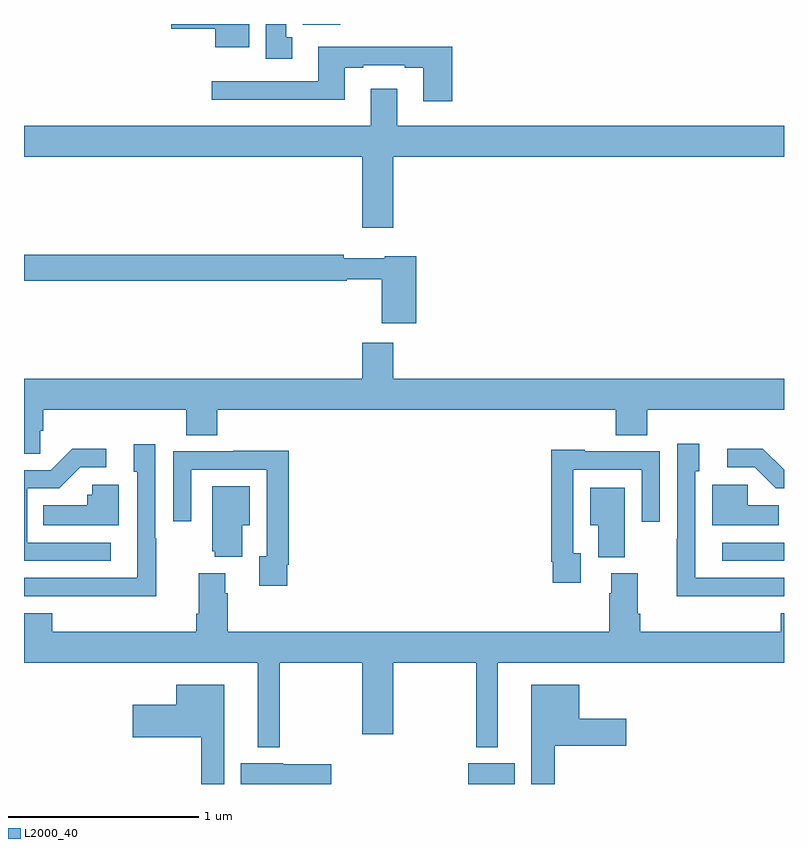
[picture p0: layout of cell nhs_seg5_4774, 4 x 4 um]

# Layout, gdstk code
import gdstk
lib = gdstk.Library(unit=1e-6, precision=1e-09)
def R(c, l, rs):  # rectangles x0, y0, x1, y1
    for r in rs: c.add(gdstk.rectangle(r[:2], r[2:], *l))
def P(c, l, *ps):  # polygons
    for p in ps: c.add(gdstk.Polygon(p, *l))
L2000_40 = (2000, 40)

nhs_seg5_4774 = lib.new_cell('nhs_seg5_4774')
R(nhs_seg5_4774, L2000_40, [(393.338,846.799,393.583,846.907), (394.674,847.974,395,848.07), (392.468,850.796,392.665,850.799)])
P(nhs_seg5_4774, L2000_40, [(392.413,850.73),(392.38,850.73),(392.38,850.799),(392.273,850.799),(392.273,850.617),(392.413,850.617)],
  [(392.185,850.799),(391.776,850.799),(391.776,850.775),(392.006,850.775),(392.006,850.676),(392.185,850.676)],
  [(393.254,850.678),(392.549,850.678),(392.549,850.497),(391.989,850.497),(391.989,850.4),(392.689,850.4),(392.689,850.569),(392.785,850.569),(392.785,850.581),(393.005,850.581),(393.005,850.569),(393.101,850.569),(393.101,850.392),(393.254,850.392)],
  [(392.944,850.1),(395,850.1),(395,850.264),(392.965,850.264),(392.965,850.459),(392.825,850.459),(392.825,850.264),(391,850.264),(391,850.1),(392.78,850.1),(392.78,849.726),(392.944,849.726)],
  [(393.065,849.577),(392.898,849.577),(392.898,849.565),(392.684,849.565),(392.684,849.584),(391,849.584),(391,849.448),(392.698,849.448),(392.698,849.456),(392.882,849.456),(392.882,849.225),(393.065,849.225)],
  [(392.944,849.121),(392.78,849.121),(392.78,848.932),(391,848.932),(391,848.536),(391.086,848.536),(391.086,848.659),(391.1,848.659),(391.1,848.768),(391.853,848.768),(391.853,848.635),(392.018,848.635),(392.018,848.768),(394.115,848.768),(394.115,848.635),(394.28,848.635),(394.28,848.768),(395,848.768),(395,848.932),(392.944,848.932)],
  [(394.898,847.788),(395,847.788),(395,847.884),(394.533,847.884),(394.533,848.445),(394.555,848.445),(394.555,848.59),(394.437,848.59),(394.437,848.09),(394.436,848.09),(394.436,847.787),(394.898,847.787)],
  [(391.695,848.093),(391.692,848.093),(391.692,848.587),(391.577,848.587),(391.577,848.442),(391.596,848.442),(391.596,848.108),(391.595,848.108),(391.595,847.884),(391,847.884),(391,847.788),(391.231,847.788),(391.231,847.787),(391.695,847.787)],
  [(395,848.452),(394.888,848.564),(394.701,848.564),(394.701,848.466),(394.845,848.466),(394.956,848.355),(395,848.355)],
  [(391.456,848.07),(391.017,848.07),(391.017,848.355),(391.186,848.355),(391.297,848.466),(391.432,848.466),(391.432,848.564),(391.253,848.564),(391.14,848.451),(391,848.451),(391,847.974),(391.456,847.974)],
  [(393.931,848.013),(393.891,848.013),(393.891,848.454),(394.251,848.454),(394.251,848.178),(394.347,848.178),(394.347,848.55),(393.951,848.55),(393.951,848.557),(393.775,848.557),(393.775,847.969),(393.783,847.969),(393.783,847.857),(393.931,847.857)],
  [(392.386,847.954),(392.393,847.954),(392.393,848.552),(392.101,848.552),(392.101,848.55),(391.785,848.55),(391.785,848.181),(391.881,848.181),(391.881,848.454),(392.277,848.454),(392.277,847.998),(392.237,847.998),(392.237,847.842),(392.386,847.842)],
  [(391.498,848.374),(391.359,848.374),(391.359,848.322),(391.333,848.322),(391.333,848.266),(391.102,848.266),(391.102,848.162),(391.498,848.162)],
  [(394.972,848.266),(394.809,848.266),(394.809,848.373),(394.622,848.373),(394.622,848.162),(394.972,848.162)],
  [(392.149,848.162),(392.188,848.162),(392.188,848.365),(391.991,848.365),(391.991,848.025),(392.003,848.025),(392.003,847.994),(392.149,847.994)],
  [(394.162,848.359),(393.98,848.359),(393.98,848.162),(394.022,848.162),(394.022,847.993),(394.162,847.993)],
  [(392.345,847.436),(392.78,847.436),(392.78,847.062),(392.944,847.062),(392.944,847.436),(393.379,847.436),(393.379,846.992),(393.493,846.992),(393.493,847.436),(395,847.436),(395,847.699),(394.982,847.699),(394.982,847.6),(394.244,847.6),(394.244,847.696),(394.231,847.696),(394.231,847.908),(394.091,847.908),(394.091,847.802),(394.079,847.802),(394.079,847.6),(392.072,847.6),(392.072,847.802),(392.059,847.802),(392.059,847.909),(391.919,847.909),(391.919,847.696),(391.907,847.696),(391.907,847.6),(391.148,847.6),(391.148,847.699),(391,847.699),(391,847.436),(392.231,847.436),(392.231,846.992),(392.345,846.992)],
  [(393.793,847.001),(394.171,847.001),(394.171,847.143),(393.922,847.143),(393.922,847.321),(393.671,847.321),(393.671,846.799),(393.793,846.799)],
  [(392.053,847.321),(391.802,847.321),(391.802,847.216),(391.572,847.216),(391.572,847.046),(391.932,847.046),(391.932,846.799),(392.053,846.799)],
  [(392.617,846.902),(392.364,846.902),(392.364,846.907),(392.141,846.907),(392.141,846.799),(392.617,846.799)])

lib.write_gds('nhs_seg5_4774.gds')
